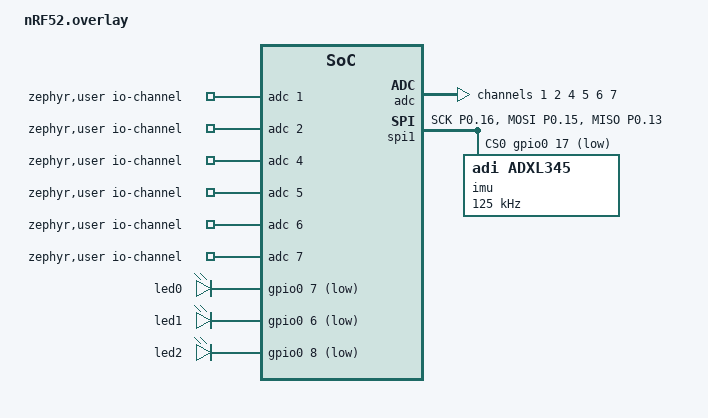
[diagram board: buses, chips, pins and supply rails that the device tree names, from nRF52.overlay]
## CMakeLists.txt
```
# SPDX-License-Identifier: Apache-2.0

cmake_minimum_required(VERSION 3.20.0)

find_package(Zephyr REQUIRED HINTS $ENV{ZEPHYR_BASE})
project(hello_world)

target_include_directories(app PRIVATE includes)

target_sources(app PRIVATE src/main.c)
target_sources(app PRIVATE src/imu.c)
target_sources(app PRIVATE src/emg.c)
target_sources(app PRIVATE src/ble.c)
target_sources(app PRIVATE src/packetBuilder.c)
```

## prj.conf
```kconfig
#Logging and quality of life 
CONFIG_LOG=y
CONFIG_CBPRINTF_FP_SUPPORT=y
CONFIG_RESET_ON_FATAL_ERROR=n

#GPIO, SPI, and ADC Peripherals
CONFIG_GPIO=y
CONFIG_SPI=y
CONFIG_ADC=y

CONFIG_BT_HCI_ACL_FLOW_CONTROL=n

#Button and LED library
CONFIG_DK_LIBRARY=y

#BLE
CONFIG_BT=y
CONFIG_BT_DEVICE_NAME="SignEcho"
CONFIG_BT_PERIPHERAL=y
CONFIG_BT_DEVICE_APPEARANCE=0
CONFIG_BT_MAX_CONN=1
CONFIG_BT_LL_SOFTDEVICE=y
CONFIG_SYSTEM_WORKQUEUE_STACK_SIZE=2048
CONFIG_MAIN_STACK_SIZE=2048

#GATT_CLIENT needed for requesting ATT_MTU update
CONFIG_BT_GATT_CLIENT=y
#PHY update needed for updating PHY request
CONFIG_BT_USER_PHY_UPDATE=y
#For data length update
CONFIG_BT_USER_DATA_LEN_UPDATE=y
#This is the maximum data length with Nordic Softdevice controller
CONFIG_BT_CTLR_DATA_LENGTH_MAX=251
#These buffers are needed for the data length max. 
CONFIG_BT_BUF_ACL_TX_SIZE=251
CONFIG_BT_BUF_ACL_RX_SIZE=251
#This is the maximum MTU size with Nordic Softdevice controller
CONFIG_BT_L2CAP_TX_MTU=247
```

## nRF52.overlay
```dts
&i2c0 {	status = "disabled";};
&spi0 {	status = "disabled";};
&i2c1 {	status = "disabled";};
&spi2 { status = "disabled";};
&uart0 {status = "disabled";};


/ {
    zephyr,user {
        io-channels = <&adc 1>, <&adc 2>, <&adc 4>, <&adc 5>, <&adc 6>, <&adc 7>;
    };
};
&adc {
	#address-cells = <1>;
	#size-cells = <0>;
	status = "okay";
    channel@1 {
		reg = <1>;
		zephyr,gain = "ADC_GAIN_1_6";
		zephyr,reference = "ADC_REF_INTERNAL";
		zephyr,acquisition-time = <ADC_ACQ_TIME_DEFAULT>;
		zephyr,input-positive = <NRF_SAADC_AIN1>; /* P0.02 for nRF52xx, P0.04 for nRF53xx */
		zephyr,resolution = <12>;
	};
    channel@2 {
		reg = <2>;
		zephyr,gain = "ADC_GAIN_1_6";
		zephyr,reference = "ADC_REF_INTERNAL";
		zephyr,acquisition-time = <ADC_ACQ_TIME_DEFAULT>;
		zephyr,input-positive = <NRF_SAADC_AIN2>; /* P0.02 for nRF52xx, P0.04 for nRF53xx */
		zephyr,resolution = <12>;
	};
    channel@4 {
		reg = <4>;
		zephyr,gain = "ADC_GAIN_1_6";
		zephyr,reference = "ADC_REF_INTERNAL";
		zephyr,acquisition-time = <ADC_ACQ_TIME_DEFAULT>;
		zephyr,input-positive = <NRF_SAADC_AIN4>; /* P0.02 for nRF52xx, P0.04 for nRF53xx */
		zephyr,resolution = <12>;
	};
    channel@5 {
		reg = <5>;
		zephyr,gain = "ADC_GAIN_1_6";
		zephyr,reference = "ADC_REF_INTERNAL";
		zephyr,acquisition-time = <ADC_ACQ_TIME_DEFAULT>;
		zephyr,input-positive = <NRF_SAADC_AIN5>; /* P0.02 for nRF52xx, P0.04 for nRF53xx */
		zephyr,resolution = <12>;
	};
    channel@6 {
		reg = <6>;
		zephyr,gain = "ADC_GAIN_1_6";
		zephyr,reference = "ADC_REF_INTERNAL";
		zephyr,acquisition-time = <ADC_ACQ_TIME_DEFAULT>;
		zephyr,input-positive = <NRF_SAADC_AIN6>; /* P0.02 for nRF52xx, P0.04 for nRF53xx */
		zephyr,resolution = <12>;
	};
    channel@7 {
		reg = <7>;
		zephyr,gain = "ADC_GAIN_1_6";
		zephyr,reference = "ADC_REF_INTERNAL";
		zephyr,acquisition-time = <ADC_ACQ_TIME_DEFAULT>;
		zephyr,input-positive = <NRF_SAADC_AIN7>; /* P0.02 for nRF52xx, P0.04 for nRF53xx */
		zephyr,resolution = <12>;
	};
};

&spi1 {
    compatible = "nordic,nrf-spi"; //using SPI as per ERRATA 58
    status = "okay";
    pinctrl-0 = <&spi1_default>;
    pinctrl-1 = <&spi1_sleep>;
    pinctrl-names = "default", "sleep";
    cs-gpios = <&gpio0 17 GPIO_ACTIVE_LOW>;
    imu: imu@0 {
    	compatible = "adi,adxl345";
    	reg = <0>;
        spi-max-frequency = <125000>;
    };
};

&pinctrl {
    spi1_default: spi1_default {
        group1 {
            psels = <NRF_PSEL(SPIM_SCK, 0, 16)>,					 
                    <NRF_PSEL(SPIM_MOSI, 0, 15)>,
                    <NRF_PSEL(SPIM_MISO, 0, 13)>;
        };
    };
    spi1_sleep: spi1_sleep {
        group1 {
            psels = <NRF_PSEL(SPIM_SCK, 0, 16)>,
                    <NRF_PSEL(SPIM_MOSI, 0, 15)>,
                    <NRF_PSEL(SPIM_MISO, 0, 13)>;
            low-power-enable;
        };
    };
};
&power {
    status = "disabled";
};

&led0 {
    gpios = <&gpio0 7 GPIO_ACTIVE_LOW>;
};

&led1 {
    gpios = <&gpio0 6 GPIO_ACTIVE_LOW>;
};

&gpiote {
    status = "okay";
};

&led2 {
    gpios = <&gpio0 8 GPIO_ACTIVE_LOW>;
};
```

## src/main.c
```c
#include <zephyr/kernel.h>
#include <zephyr/logging/log.h>
#include <zephyr/drivers/gpio.h>
#include "imu.h"
#include "commondefines.h"
#include "emg.h"
#include "ble.h"
#include "packetBuilder.h"

LOG_MODULE_REGISTER(MAIN_LOG); //Logging

const struct gpio_dt_spec ledSpec0 = GPIO_DT_SPEC_GET(DT_NODELABEL(led0), gpios);
const struct gpio_dt_spec ledSpec1 = GPIO_DT_SPEC_GET(DT_NODELABEL(led1), gpios);
const struct gpio_dt_spec ledSpec2 = GPIO_DT_SPEC_GET(DT_NODELABEL(led2), gpios);

int main(void){
    int error = 0; 
    error = gpio_is_ready_dt(&ledSpec0) || gpio_is_ready_dt(&ledSpec1) || gpio_is_ready_dt(&ledSpec2);
	if(!error){
		LOG_ERR("ERROR@ file:%s, function:%s(), line:%d - Failed to initalize GPIO - LED0", __FILE__, __func__, __LINE__);
		return error;
	}
    gpio_pin_configure_dt(&ledSpec0, GPIO_OUTPUT_INACTIVE);
    gpio_pin_configure_dt(&ledSpec1, GPIO_OUTPUT_INACTIVE);
    gpio_pin_configure_dt(&ledSpec2, GPIO_OUTPUT_INACTIVE);
    error = initIMU();
    if (error) {
        LOG_ERR("ERROR@ file:%s, function:%s(), line:%d - Failed to initalize IMU", __FILE__, __func__, __LINE__);
		return error;
	}
    error = initEMG();
    if (error) {
        LOG_ERR("ERROR@ file:%s, function:%s(), line:%d - Failed to initalize EMG", __FILE__, __func__, __LINE__);
		return error;
	}
	error = initBle();
    if (error) {
        LOG_ERR("ERROR@ file:%s, function:%s(), line:%d - Failed to initalize BLE", __FILE__, __func__, __LINE__);
		return error;
	}
    int index = 0;
    while(1){
        int error = 0;
        // error = updatePayloadWithGyroData(index);
        // if (error) {
        //     LOG_ERR("ERROR@ file:%s, function:%s(), line:%d - Failed to updateGyroPayload Values", __FILE__, __func__, __LINE__);
        //     return error;
        // }
        // error = updatePayloadWithAccelData(index);
        // if (error) {
        //     LOG_ERR("ERROR@ file:%s, function:%s(), line:%d - Failed to updateGyroPayload Values", __FILE__, __func__, __LINE__);
        //     return error;
        // }
        error = updatePayloadWithEMGData(index);
        if (error) {
            LOG_ERR("ERROR@ file:%s, function:%s(), line:%d - Failed to updateEMGPayload Values", __FILE__, __func__, __LINE__);
            return error;
        }
        if(++index >= 20){
            sendPacket();
            index = 0;
        }
        // k_msleep(SLEEP_TIME_MS);
    }
    return error;
}
```

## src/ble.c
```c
#include "ble.h"
#include <zephyr/logging/log.h>
#include <dk_buttons_and_leds.h>
#include "commondefines.h"
#include <zephyr/bluetooth/gatt.h>

LOG_MODULE_REGISTER(BLE_LOG); 

static K_SEM_DEFINE(bt_init_ok, 1, 1);

static struct bt_conn *current_conn;
enum bt_button_notifications_enabled notifications_enabled;

void button_chrc_ccc_cfg_changed(const struct bt_gatt_attr *attr, uint16_t value);
void on_notif_changed(enum bt_button_notifications_enabled status);

struct bt_remote_service_cb {
	void (*notif_changed)(enum bt_button_notifications_enabled status);
};

struct bt_remote_service_cb remote_callbacks = {
	.notif_changed = on_notif_changed,
};

struct bt_conn_cb bluetooth_callbacks = {
	.connected 		= on_connected,
	.disconnected 	= on_disconnected,
};

enum bt_button_notifications_enabled {
	BT_BUTTON_NOTIFICATIONS_ENABLED,
	BT_BUTTON_NOTIFICATIONS_DISABLED,
};

BT_GATT_SERVICE_DEFINE(remote_srv, BT_GATT_PRIMARY_SERVICE(BT_UUID_REMOTE_SERVICE),
	BT_GATT_CHARACTERISTIC(BT_UUID_MYSENSOR, BT_GATT_CHRC_READ | BT_GATT_CHRC_NOTIFY, BT_GATT_PERM_READ, NULL, NULL, NULL),
	BT_GATT_CCC(button_chrc_ccc_cfg_changed, BT_GATT_PERM_READ | BT_GATT_PERM_WRITE),
);

void button_chrc_ccc_cfg_changed(const struct bt_gatt_attr *attr, uint16_t value)
{
    bool notif_enabled = (value == BT_GATT_CCC_NOTIFY);

	notifications_enabled = notif_enabled? BT_BUTTON_NOTIFICATIONS_ENABLED:BT_BUTTON_NOTIFICATIONS_DISABLED;
    if (remote_callbacks.notif_changed) {
        remote_callbacks.notif_changed(notifications_enabled);
    }
}

static struct bt_le_adv_param *adv_param = BT_LE_ADV_PARAM(
	(BT_LE_ADV_OPT_CONNECTABLE |
	 BT_LE_ADV_OPT_USE_IDENTITY), /* Connectable advertising and use identity address */
	800, /* Min Advertising Interval 500ms (800*0.625ms) */
	801, /* Max Advertising Interval 500.625ms (801*0.625ms) */
	NULL); /* Set to NULL for undirected advertising */

// Advertising Data
static const struct bt_data ad[] = {
    BT_DATA_BYTES(BT_DATA_FLAGS, (BT_LE_AD_GENERAL | BT_LE_AD_NO_BREDR)),
    BT_DATA(BT_DATA_NAME_COMPLETE, DEVICE_NAME, DEVICE_NAME_LEN)
};

// Scan Response Data
static const struct bt_data sd[] = {
    BT_DATA_BYTES(BT_DATA_UUID128_ALL, BT_UUID_REMOTE_SERV_VAL),
};

// Callbacks

void on_notif_changed(enum bt_button_notifications_enabled status)
{
	if (status == BT_BUTTON_NOTIFICATIONS_ENABLED) {
		LOG_INF("Notifications enabled");
	}
	else {
		LOG_INF("Notificatons disabled");
	}
}

void on_connected(struct bt_conn *conn, uint8_t err)
{
	if(err) {
		LOG_ERR("connection err: %d", err);
		return;
	}
	LOG_INF("Connected.");
	current_conn = bt_conn_ref(conn);
	dk_set_led_on(CONN_STATUS_LED);
}

void on_disconnected(struct bt_conn *conn, uint8_t reason)
{
	LOG_INF("Disconnected (reason: %d)", reason);
	dk_set_led_off(CONN_STATUS_LED);
	if(current_conn) {
		bt_conn_unref(current_conn);
		current_conn = NULL;
	}
}

void readyBle(int error)
{
    if(error)
    {
        LOG_ERR("readyBle returned %d.", error);
    }
}

void on_sent(struct bt_conn *conn, void *user_data)
{
    ARG_UNUSED(user_data);
    LOG_INF("Notification sent on connection %p", (void *)conn);
}

void request_data_len_update(void)
{
	int err;
	err = bt_conn_le_data_len_update(current_conn, BT_LE_DATA_LEN_PARAM_MAX);
		if (err) {
			LOG_ERR("LE data length update request failed: %d",  err);
		}
}

void request_phy_update(void)
{
	int err;

	err = bt_conn_le_phy_update(current_conn, BT_CONN_LE_PHY_PARAM_2M);
		if (err) {
			LOG_ERR("Phy update request failed: %d",  err);
		}
}

int send_sensor_notification(int8_t* data, uint16_t length)
{
    int error = 0;

    struct bt_gatt_notify_params params = {0};
    const struct bt_gatt_attr *attr = &remote_srv.attrs[2];

    params.attr = attr;
    params.data = data;
    params.len  = length;
    params.func = on_sent;
    error 		= bt_gatt_notify_cb(current_conn, &params);
    // err = bt_gatt_notify(current_conn, &remote_srv.attrs[1], notify_data, sizeof(notify_data));

    return error;
}

int initBle()
{
    int error = 0;
    LOG_INF("Initializing BLE.");

    bt_conn_cb_register(&bluetooth_callbacks);
	remote_callbacks.notif_changed = remote_callbacks.notif_changed;
    error = bt_enable(readyBle);
    if(error)
    {
        return error;
    }

    k_sem_take(&bt_init_ok, K_FOREVER);

    error = bt_le_adv_start(adv_param, ad, ARRAY_SIZE(ad), sd, ARRAY_SIZE(sd));
    if (error){
        LOG_ERR("Advertising start failed: (err = %d", error);
        return error;
    }
    LOG_ERR("Advertising successfully started");
    return error;
}
```

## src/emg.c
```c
#include "emg.h"
#include "commondefines.h"
#include <zephyr/logging/log.h>

LOG_MODULE_REGISTER(EMG_LOG); //Logging
int16_t emgData[ARRAY_SIZE(adc_channels)];
int initEMG(){
    int error = 0;
	for (size_t i = 0U; i < ARRAY_SIZE(adc_channels); i++) {
		error = !adc_is_ready_dt(&adc_channels[i]);
		if (error) {
            LOG_ERR("ADC controller device %s not ready\n", adc_channels[i].dev->name);
            return error;
        }
		//returns 0 on success -ENOTSUP (134) or 1 on failure
		error = adc_channel_setup_dt(&adc_channels[i]);
		if (error){
            LOG_ERR("Could not setup channel #%d (%d)\n", i, error);
            return error;
        } 
	}
    return error;
}

int readEMG(){
	int16_t buf;
	struct adc_sequence sequence = {
		.buffer = &buf,
		.buffer_size = sizeof(buf),
	};
	int error;
	for (size_t i = 0U; i < ARRAY_SIZE(adc_channels); i++) {
		int val_mv;
		(void)adc_sequence_init_dt(&adc_channels[i], &sequence);
		error = adc_read_dt(&adc_channels[i], &sequence);
		if (error < 0) {
			continue;
		}
		val_mv = (int)buf;
		error = adc_raw_to_millivolts_dt(&adc_channels[i],
							&val_mv);
		/* conversion to mV may not be supported, skip if not */
		if (error < 0) {
			LOG_ERR(" (value in mV not available)\n");
		} else {
			emgData[i] = val_mv;
		}
	
	}
	return error;
}

void printEMGData(){
    LOG_INF("INFO@ Printing EMG Data");
    for(int i = 0; i < ARRAY_SIZE(emgData); i++){
        LOG_INF("INDEX: %d HEXADECIMAL VALUE: %hx", i, emgData[i]);
    }
}
```

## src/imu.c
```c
#include "imu.h"
#include "commondefines.h"
#include <zephyr/drivers/spi.h>
#include <zephyr/logging/log.h>

LOG_MODULE_REGISTER(IMU_LOG); //Logging
struct spi_dt_spec spispec = SPI_DT_SPEC_GET(DT_NODELABEL(imu), SPIOP, 0);

struct imuDataRaw IMU_DATA_RAW;

int imu_read_reg(uint8_t reg, uint8_t* data, uint8_t size)
{
	uint8_t tx_buffer 					= reg | READ_BIT;
	struct spi_buf tx_spi_buf			= {.buf = (void *)&tx_buffer, .len = 1};
	struct spi_buf_set tx_spi_buf_set 	= {.buffers = &tx_spi_buf, .count = 1};
	struct spi_buf rx_spi_bufs 			= {.buf = data, .len = size};
	struct spi_buf_set rx_spi_buf_set	= {.buffers = &rx_spi_bufs, .count = 1};

	//transceieve reads and writes at the same time - so while it writes it alsos also reading data
	//in which case the first 8bits of data recieved will always be 0 so the var/struct we are using to
	//store the data has to be sized appropiatley ex it has to be sized up by 1 to accomadate for the 
	//first read to always be 0
	int error = spi_transceive_dt(&spispec, &tx_spi_buf_set, &rx_spi_buf_set);
	if (error < 0) {
		LOG_ERR("ERROR@ file:%s, function:%s(), line:%d - Failed to read reg: %d, err: %d", __FILE__, __func__, __LINE__, reg, error);
		return error;
	}

	return 0;
}

int imu_write_reg(uint8_t reg, uint8_t value)
{
	uint8_t tx_buf[] 					= {(reg & 0x7F), value};	
	struct spi_buf 		tx_spi_buf 		= {.buf = tx_buf, .len = sizeof(tx_buf)};
	struct spi_buf_set 	tx_spi_buf_set	= {.buffers = &tx_spi_buf, .count = 1};

	int error = spi_write_dt(&spispec, &tx_spi_buf_set);
	if (error < 0) {
		LOG_ERR("ERROR@ file:%s, function:%s(), line:%d - Failed to write reg: %d with value: %d, err: %d", __FILE__, __func__, __LINE__, reg, value, error);
		return error;
	}

	return 0;
}

int initIMU(){
    int error = 0;
	error = !spi_is_ready_dt(&spispec);
    if (error) {
        LOG_ERR("ERROR@ file:%s, function:%s(), line:%d - Failed to initalize SPI bus or CS GPIO", __FILE__, __func__, __LINE__);
		return error;
	}
    //LOG_INF("Continuously read sensor samples, and display");
	//bit 0 MUST be set to 0 for correct operation
	//before reading values of gyroscope we have to turn it on 
	//current mode 10100010 - 1010 sets it to 6.66 kHz high performance
	//0100 sets it to a full scale range of +-500 degrees per second (angular rates the gyroscope can accuratley measure)
	error = imu_write_reg(CTRL2_G, 0xA4);
	if(error < 0){
		LOG_ERR("ERROR@ file:%s, function:%s(), line:%d - Failed to write initalization register for Gyro", __FILE__, __func__, __LINE__);
		return error;
	}
    //bit 0 MUST be set to 0 for correct operation
	//before reading values of accelerometer we have to turn it on 
	//current mode 10101100 - 1010 sets it to 6.66 kHz high performance
	//1000 sets it to a +- 4g for measurements (max), bit1 set to 0 selects the first stage digital filtering
	error = imu_write_reg(CTRL1_XL, 0xA8);
	if(error < 0){
		LOG_ERR("ERROR@ file:%s, function:%s(), line:%d - Failed to write initalization register for Accel", __FILE__, __func__, __LINE__);
		return error;
	}
    return error;
}

int readGyro(){
	int error = 0;
	imu_read_reg(OUTX_L_G, IMU_DATA_RAW.OUTX_L_H_G, READ_SIZE_MULTIPLE);
	if(error < 0){
		LOG_ERR("ERROR@ file:%s, function:%s(), line:%d - Failed to write read register for Gyro", __FILE__, __func__, __LINE__);
		return error;
	}
	imu_read_reg(OUTY_L_G, IMU_DATA_RAW.OUTY_L_H_G, READ_SIZE_MULTIPLE);
	if(error < 0){
		LOG_ERR("ERROR@ file:%s, function:%s(), line:%d - Failed to write read register for Gyro", __FILE__, __func__, __LINE__);
		return error;
	}
	imu_read_reg(OUTZ_L_G, IMU_DATA_RAW.OUTZ_L_H_G, READ_SIZE_MULTIPLE);
	if(error < 0){
		LOG_ERR("ERROR@ file:%s, function:%s(), line:%d - Failed to write read register for Gyro", __FILE__, __func__, __LINE__);
		return error;
	}
	
    return error;
}

int readAccel(){
	int error = 0;
	imu_read_reg(OUTX_L_A, IMU_DATA_RAW.OUTX_L_H_A, READ_SIZE_MULTIPLE);
	if(error < 0){
		LOG_ERR("ERROR@ file:%s, function:%s(), line:%d - Failed to read register for Accel", __FILE__, __func__, __LINE__);
		return error;
	}
	imu_read_reg(OUTY_L_A, IMU_DATA_RAW.OUTY_L_H_A, READ_SIZE_MULTIPLE);
	if(error < 0){
		LOG_ERR("ERROR@ file:%s, function:%s(), line:%d - Failed to read register for Accel", __FILE__, __func__, __LINE__);
		return error;
	}
	imu_read_reg(OUTZ_L_A, IMU_DATA_RAW.OUTZ_L_H_A, READ_SIZE_MULTIPLE);
	if(error < 0){
		LOG_ERR("ERROR@ file:%s, function:%s(), line:%d - Failed to read register for Accel", __FILE__, __func__, __LINE__);
		return error;
	}
    return error;
}

void printIMUData(){
	int16_t outx_g = (int16_t)(((uint16_t)IMU_DATA_RAW.OUTX_L_H_G[2]) << BIT_SHIFT | IMU_DATA_RAW.OUTX_L_H_G[1]);
	int16_t outy_g = (int16_t)(((uint16_t)IMU_DATA_RAW.OUTY_L_H_G[2]) << BIT_SHIFT | IMU_DATA_RAW.OUTY_L_H_G[1]);
	int16_t outz_g = (int16_t)(((uint16_t)IMU_DATA_RAW.OUTZ_L_H_G[2]) << BIT_SHIFT | IMU_DATA_RAW.OUTZ_L_H_G[1]);
	int16_t outx_a = (int16_t)(((uint16_t)IMU_DATA_RAW.OUTX_L_H_A[2]) << BIT_SHIFT | IMU_DATA_RAW.OUTX_L_H_A[1]);
	int16_t outy_a = (int16_t)(((uint16_t)IMU_DATA_RAW.OUTY_L_H_A[2]) << BIT_SHIFT | IMU_DATA_RAW.OUTY_L_H_A[1]);
	int16_t outz_a = (int16_t)(((uint16_t)IMU_DATA_RAW.OUTZ_L_H_A[2]) << BIT_SHIFT | IMU_DATA_RAW.OUTZ_L_H_A[1]);
    LOG_INF("INFO@ IMU DATA Hexadecimal Values - GYRO X: %hx GYRO Y: %hx GYRO Z: %hx ACCEL X: %hx ACCEL Y: %hx ACCEL Z: %hx", outx_g, outy_g, outz_g,
        outx_a, outy_a, outz_a);
}
```

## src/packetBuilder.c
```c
#include "commondefines.h"
#include "packetBuilder.h"
#include "imu.h"
#include "ble.h"
#include <zephyr/logging/log.h>
#include "emg.h"

LOG_MODULE_REGISTER(PKTB_LOG); //Logging

extern struct imuDataRaw IMU_DATA_RAW;
static int8_t payload[payloadSizeInBytes] = {0};


int updatePayloadWithGyroData(int index){
    int error = 0;
    error = readGyro();
    if(error < 0){
		LOG_ERR("ERROR@ file:%s, function:%s(), line:%d - Failed to read Gyro Values: err: %d", __FILE__, __func__, __LINE__, error);
		return error;
    }
    payload[0+(12*index)] = IMU_DATA_RAW.OUTX_L_H_G[2];
    payload[1+(12*index)] = IMU_DATA_RAW.OUTX_L_H_G[1];
    payload[2+(12*index)] = IMU_DATA_RAW.OUTY_L_H_G[2];
    payload[3+(12*index)] = IMU_DATA_RAW.OUTY_L_H_G[1];
    payload[4+(12*index)] = IMU_DATA_RAW.OUTZ_L_H_G[2];
    payload[5+(12*index)] = IMU_DATA_RAW.OUTZ_L_H_G[1];
    return error;
}

int updatePayloadWithAccelData(int index){
    int error = 0;
    error = readAccel();
    if(error < 0){
		LOG_ERR("ERROR@ file:%s, function:%s(), line:%d - Failed to read Accel Values: err: %d", __FILE__, __func__, __LINE__, error);
		return error;
    }
    payload[6+(12*index)]  = IMU_DATA_RAW.OUTX_L_H_A[2];
    payload[7+(12*index)]  = IMU_DATA_RAW.OUTX_L_H_A[1];
    payload[8+(12*index)]  = IMU_DATA_RAW.OUTY_L_H_A[2];
    payload[9+(12*index)]  = IMU_DATA_RAW.OUTY_L_H_A[1];
    payload[10+(12*index)] = IMU_DATA_RAW.OUTZ_L_H_A[2];
    payload[11+(12*index)] = IMU_DATA_RAW.OUTZ_L_H_A[1];
    return error;
}

void sendPacket(){
    send_sensor_notification(payload, sizeof(payload));
}

int updatePayloadWithEMGData(int index){
    int error = 0;
    readEMG();

    int payloadEMGDataStart8 = 0;
    for(int i = 0; i < ARRAY_SIZE(emgData); i++){
        int8_t upper8Bits = emgData[i] >> BIT_SHIFT;
        int8_t lower8Bits = emgData[i];
        payload[payloadEMGDataStart8+(12*index)] = upper8Bits;
        payload[payloadEMGDataStart8+1+(12*index)] = lower8Bits;
        payloadEMGDataStart8+=2; 
    }
    return error;
}

void printPayload(){
    LOG_INF("INFO@ Printing Payload 8 Bytes");
    for(int i = 0; i < ARRAY_SIZE(payload); i++){
        LOG_INF("INDEX: %d DECIMAL VALUE: %hhx", i, payload[i]);
    }
}
```
